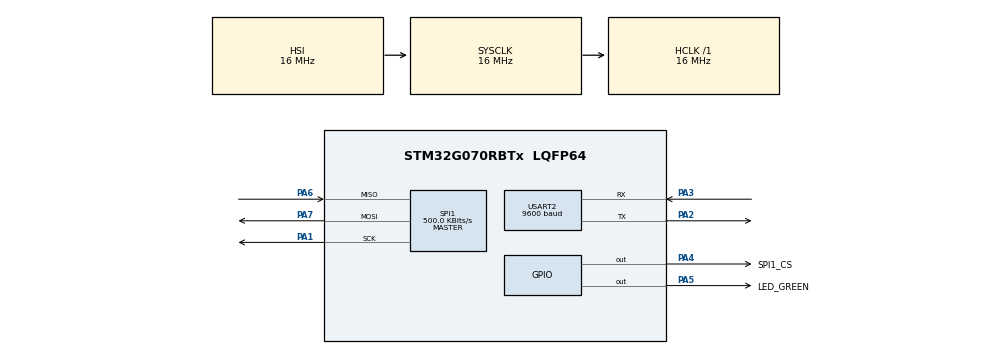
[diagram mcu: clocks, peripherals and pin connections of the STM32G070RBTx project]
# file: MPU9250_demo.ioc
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Mcu.Family=STM32G0
Mcu.Name=STM32G070RBTx
Mcu.Package=LQFP64
PA1.Mode=Full_Duplex_Master
PA1.Signal=SPI1_SCK
PA13.GPIO_Label=TMS
PA13.Mode=Serial_Wire
PA13.Signal=SYS_SWDIO
PA14-BOOT0.GPIO_Label=TCK
PA14-BOOT0.Mode=Serial_Wire
PA14-BOOT0.Signal=SYS_SWCLK
PA2.GPIO_PuPd=GPIO_PULLUP
PA2.Mode=Asynchronous
PA2.Signal=USART2_TX
PA3.GPIO_PuPd=GPIO_PULLUP
PA3.Mode=Asynchronous
PA3.Signal=USART2_RX
PA4.GPIO_Label=SPI1_CS
PA4.Signal=GPIO_Output
PA5.GPIO_Label=LED_GREEN
PA5.Signal=GPIO_Output
PA6.Mode=Full_Duplex_Master
PA6.Signal=SPI1_MISO
PA7.Mode=Full_Duplex_Master
PA7.Signal=SPI1_MOSI
PC13.Mode=SYS_WakeUp1
PC13.Signal=SYS_WKUP2
PC14-OSC32_IN\ (PC14).Mode=LSE-External-Oscillator
PC14-OSC32_IN\ (PC14).Signal=RCC_OSC32_IN
PC15-OSC32_OUT\ (PC15).Mode=LSE-External-Oscillator
PC15-OSC32_OUT\ (PC15).Signal=RCC_OSC32_OUT
PF0-OSC_IN\ (PF0).GPIO_Label=MCO
PF0-OSC_IN\ (PF0).Mode=HSE-External-Clock-Source
PF0-OSC_IN\ (PF0).Signal=RCC_OSC_IN
ProjectManager.HeapSize=0x200
ProjectManager.StackSize=0x400
ProjectManager.TargetToolchain=STM32CubeIDE
RCC.AHBFreq_Value=16000000
RCC.CortexFreq_Value=16000000
RCC.EXTERNAL_CLOCK_VALUE=12288000
RCC.HCLKFreq_Value=16000000
RCC.HSE_VALUE=8000000
RCC.HSI_VALUE=16000000
RCC.SYSCLKFreq_VALUE=16000000
RCC.VCOOutputFreq_Value=128000000
SPI1.BaudRatePrescaler=SPI_BAUDRATEPRESCALER_32
SPI1.CLKPhase=SPI_PHASE_2EDGE
SPI1.CLKPolarity=SPI_POLARITY_HIGH
SPI1.CalculateBaudRate=500.0 KBits/s
SPI1.DataSize=SPI_DATASIZE_8BIT
SPI1.Direction=SPI_DIRECTION_2LINES
SPI1.Mode=SPI_MODE_MASTER
SPI1.VirtualType=VM_MASTER
USART2.BaudRate=9600
USART2.VirtualMode-Asynchronous=VM_ASYNC
USART2.WordLength=WORDLENGTH_8B
board=NUCLEO-G070RB

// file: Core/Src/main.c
/* USER CODE BEGIN Header */
/**
 ******************************************************************************
 * @file           : main.c
 * @brief          : Main program body
 ******************************************************************************
 * @attention
 *
 * Copyright (c) 2026 STMicroelectronics.
 * All rights reserved.
 *
 * This software is licensed under terms that can be found in the LICENSE file
 * in the root directory of this software component.
 * If no LICENSE file comes with this software, it is provided AS-IS.
 *
 ******************************************************************************
 */
/* USER CODE END Header */
#include "main.h"

/* USER CODE BEGIN Includes */
#include "driver_mpu9250_basic.h"

#include <stdio.h>
/* USER CODE END Includes */

/* USER CODE BEGIN PD */
#define DISP_TIME 500
/* USER CODE END PD */

SPI_HandleTypeDef hspi1;

UART_HandleTypeDef huart2;

void SystemClock_Config(void);
static void MX_GPIO_Init(void);
static void MX_USART2_UART_Init(void);
static void MX_SPI1_Init(void);

/* USER CODE BEGIN 0 */
/* USER CODE BEGIN 0 */
int _write(int file, char const *buf, int n)
{
	/* stdout redirection to UART2 */
	HAL_UART_Transmit(&huart2, (uint8_t*)(buf), n, HAL_MAX_DELAY);
	return n;
}
/* USER CODE END 0 */

int main(void)
{

  /* MCU Configuration--------------------------------------------------------*/

  /* Reset of all peripherals, Initializes the Flash interface and the Systick. */
  HAL_Init();

  /* Configure the system clock */
  SystemClock_Config();

  /* Initialize all configured peripherals */
  MX_GPIO_Init();
  MX_USART2_UART_Init();
  MX_SPI1_Init();
  /* USER CODE BEGIN 2 */

	printf("--- Start program NUCLEO-F070RB ---\r\n");
	printf("Run inicialization MPU9250...\r\n");

	/* * 1. INICIALIZATION
	 * For SPI interface set MPU9250_INTERFACE_SPI.
	 * Address only for I2C, library requires it.
	 */
	uint8_t res = mpu9250_basic_init(MPU9250_INTERFACE_SPI, 0); // MPU9250_ADDRESS_AD0_LOW
	if (res != 0)
	{
		printf("Error: MPU9250 inicialization failed!\r\n");
		// Optional Error Handler
	}
	else
	{
		printf("MPU9250 succesfully inicialized and prepered.\r\n");
	}
	printf("%x\n", res);

	/* Pause for stabilization */
	HAL_Delay(100);

	/* Measured data variables */
	float g[3];   // Accelerometes (Multiples of gravitational acceleration)
	float dps[3]; // Gyroscope (Degrees Per Second)
	float ut[3];  // Magnetometer (µT)

	/* Time marker */
	uint32_t tick = 0;

	/* --- Manual activation magnetometer bridge through SPI --- */
	  printf("Activing I2C Master for automatic magnetometer reading...\r\n");

	  uint8_t temp_reg = 0;

	  /* 1. Enable I2C Master mode in register USER_CTRL (0x6A) */
	  mpu9250_interface_spi_read(0x6A, &temp_reg, 1);
	  temp_reg |= 0x20; /* Set bit 5 (I2C_MST_EN) */
	  mpu9250_interface_spi_write(0x6A, &temp_reg, 1);

	  /* 2. Set I2C Slave 0 address for reading from magnetometer */
	  /* Address AK8963 is 0x0C, for reading must be set MSB (0x80) -> 0x8C */
	  temp_reg = 0x8C;
	  mpu9250_interface_spi_write(0x25, &temp_reg, 1); /* Register I2C_SLV0_ADDR */

	  /* 3. Set initial magnetometer register */
	  /* Data X axis, register 0x03 in AK8963 */
	  temp_reg = 0x03;
	  mpu9250_interface_spi_write(0x26, &temp_reg, 1); /* Register I2C_SLV0_REG */

	  /* 4. Enable Slave 0 and set reading length to 7 byte */
	  /* Bit 7 enables reading (0x80), plus 7 bytes (0x07) -> 0x87 */
	  temp_reg = 0x87;
	  mpu9250_interface_spi_write(0x27, &temp_reg, 1); /* Register I2C_SLV0_CTRL */

	  printf("Bridge has been configurated! Start reading data...\r\n");
	  HAL_Delay(100);
	  /* -------------------------------------------------------- */

	  /* --- TVRDÝ RESTART A PROBUZENÍ MAGNETOMETRU --- */
	    printf("Zacinam tvrdou konfiguraci AK8963...\r\n");
	    uint8_t reg_val;

	    /* 1. ZAKÁZAT I2C BYPASS (Registr INT_PIN_CFG - 0x37) */
	    /* Pokud je Bypass zapnutý, interní I2C Master nefunguje! */
	    mpu9250_interface_spi_read(0x37, &reg_val, 1);
	    reg_val &= ~0x02; // Vynulujeme bit 1 (BYPASS_EN)
	    mpu9250_interface_spi_write(0x37, &reg_val, 1);

	    /* 2. POVOLIT I2C MASTERA (Registr USER_CTRL - 0x6A) */
	    mpu9250_interface_spi_read(0x6A, &reg_val, 1);
	    reg_val |= 0x20; // Nastavíme bit 5 (I2C_MST_EN)
	    mpu9250_interface_spi_write(0x6A, &reg_val, 1);

	    /* 3. NASTAVIT RYCHLOST INTERNÍHO I2C (Registr I2C_MST_CTRL - 0x24) */
	    reg_val = 0x0D; // I2C rychlost 400 kHz
	    mpu9250_interface_spi_write(0x24, &reg_val, 1);

	    /* --- ZÁPIS DO AK8963: PROBUĎ SE A MĚŘ! --- */
	    /* K zápisu do magnetometru musíme použít kanál SLV4 */
	    reg_val = 0x0C; // I2C adresa AK8963 (Zápis)
	    mpu9250_interface_spi_write(0x31, &reg_val, 1); // I2C_SLV4_ADDR

	    reg_val = 0x0A; // Registr CNTL1 v AK8963 (Nastavení módu)
	    mpu9250_interface_spi_write(0x32, &reg_val, 1); // I2C_SLV4_REG

	    reg_val = 0x16; // Hodnota: 16-bit rozlišení, Continuous Mode 2 (100 Hz)
	    mpu9250_interface_spi_write(0x33, &reg_val, 1); // I2C_SLV4_DO

	    reg_val = 0x80; // Povolit přenos (EN bit)
	    mpu9250_interface_spi_write(0x34, &reg_val, 1); // I2C_SLV4_CTRL

	    HAL_Delay(50); // Počkáme, až se příkaz pošle a magnetometr se probudí

	    /* --- NASTAVENÍ KONTINUÁLNÍHO ČTENÍ DO EXT_SENS_DATA --- */
	    /* Nastavíme kanál SLV0, aby neustále četl měření */
	    reg_val = 0x8C; // I2C adresa 0x0C + bit čtení (0x80)
	    mpu9250_interface_spi_write(0x25, &reg_val, 1); // I2C_SLV0_ADDR

	    reg_val = 0x03; // Začít číst od registru HXL (osa X)
	    mpu9250_interface_spi_write(0x26, &reg_val, 1); // I2C_SLV0_REG

	    reg_val = 0x87; // Povolit čtení (EN) + délka 7 bajtů (X, Y, Z + ST2)
	    mpu9250_interface_spi_write(0x27, &reg_val, 1); // I2C_SLV0_CTRL

	    printf("Konfigurace dokoncena. Cekam na prvni data...\r\n");
	    HAL_Delay(100);
	    /* -------------------------------------------------------- */

  /* USER CODE END 2 */

  /* Infinite loop */
  /* USER CODE BEGIN WHILE */
	while (1)
	{

		/* * 2 READING
		 */
		if (HAL_GetTick() > tick)
		{
			tick = HAL_GetTick() + DISP_TIME;

			//printf("Reading data from sensor...\r\n");
			if (mpu9250_basic_read(g, dps, ut) != 0)
			{
				printf("Error: Sensor data reading failed!\r\n");
			}
			else
			{
				/* 3. WRITE VALUE TO SERIAL */
				//printf("\r\n");
				//printf("A [g]  : X=%d, Y=%d, Z=%d\r\n", (int16_t)(g[0]*1000), (int16_t)(g[1]*1000), (int16_t)(g[2]*1000));
				//printf("G [dps]: X=%d, Y=%d, Z=%d\r\n", (int16_t)(dps[0]*1000), (int16_t)(dps[1]*1000), (int16_t)(dps[2]*1000));
				//printf("M [uT] : X=%d, Y=%d, Z=%d\r\n", (int16_t)(ut[0]*1000), (int16_t)(ut[1]*1000), (int16_t)(ut[2]*1000));
				//printf("\r\n");
			}

			uint8_t mag_raw_data[7];
			mpu9250_interface_spi_read(0x49, mag_raw_data, 7);

			//printf("Raw Mag Data: %02X %02X %02X %02X %02X %02X | ST2: %02X\r\n",
			//       mag_raw_data[0], mag_raw_data[1], mag_raw_data[2],
			//       mag_raw_data[3], mag_raw_data[4], mag_raw_data[5], mag_raw_data[6]);

			int16_t raw_x = ((int16_t)((mag_raw_data[1] << 8) | mag_raw_data[0]) * 15) / 100;
			int16_t raw_y = ((int16_t)((mag_raw_data[3] << 8) | mag_raw_data[2]) * 15) / 100;
			int16_t raw_z = ((int16_t)((mag_raw_data[5] << 8) | mag_raw_data[4]) * 15) / 100;

			printf("M [uT]: X=%d, Y=%d, Z=%d\r\n", raw_x, raw_y, raw_z);
		}

    /* USER CODE END WHILE */

	}
}

void SystemClock_Config(void)
{
  RCC_OscInitTypeDef RCC_OscInitStruct = {0};
  RCC_ClkInitTypeDef RCC_ClkInitStruct = {0};

  /** Configure the main internal regulator output voltage
  */
  HAL_PWREx_ControlVoltageScaling(PWR_REGULATOR_VOLTAGE_SCALE1);

  /** Initializes the RCC Oscillators according to the specified parameters
  * in the RCC_OscInitTypeDef structure.
  */
  RCC_OscInitStruct.OscillatorType = RCC_OSCILLATORTYPE_HSI;
  RCC_OscInitStruct.HSIState = RCC_HSI_ON;
  RCC_OscInitStruct.HSIDiv = RCC_HSI_DIV1;
  RCC_OscInitStruct.HSICalibrationValue = RCC_HSICALIBRATION_DEFAULT;
  RCC_OscInitStruct.PLL.PLLState = RCC_PLL_NONE;
  if (HAL_RCC_OscConfig(&RCC_OscInitStruct) != HAL_OK)
  {
    Error_Handler();
  }

  /** Initializes the CPU, AHB and APB buses clocks
  */
  RCC_ClkInitStruct.ClockType = RCC_CLOCKTYPE_HCLK|RCC_CLOCKTYPE_SYSCLK
                              |RCC_CLOCKTYPE_PCLK1;
  RCC_ClkInitStruct.SYSCLKSource = RCC_SYSCLKSOURCE_HSI;
  RCC_ClkInitStruct.AHBCLKDivider = RCC_SYSCLK_DIV1;
  RCC_ClkInitStruct.APB1CLKDivider = RCC_HCLK_DIV1;

  if (HAL_RCC_ClockConfig(&RCC_ClkInitStruct, FLASH_LATENCY_0) != HAL_OK)
  {
    Error_Handler();
  }
}

static void MX_SPI1_Init(void)
{

  /* SPI1 parameter configuration*/
  hspi1.Instance = SPI1;
  hspi1.Init.Mode = SPI_MODE_MASTER;
  hspi1.Init.Direction = SPI_DIRECTION_2LINES;
  hspi1.Init.DataSize = SPI_DATASIZE_8BIT;
  hspi1.Init.CLKPolarity = SPI_POLARITY_LOW;
  hspi1.Init.CLKPhase = SPI_PHASE_1EDGE;
  hspi1.Init.NSS = SPI_NSS_SOFT;
  hspi1.Init.BaudRatePrescaler = SPI_BAUDRATEPRESCALER_64;
  hspi1.Init.FirstBit = SPI_FIRSTBIT_MSB;
  hspi1.Init.TIMode = SPI_TIMODE_DISABLE;
  hspi1.Init.CRCCalculation = SPI_CRCCALCULATION_DISABLE;
  hspi1.Init.CRCPolynomial = 7;
  hspi1.Init.CRCLength = SPI_CRC_LENGTH_DATASIZE;
  hspi1.Init.NSSPMode = SPI_NSS_PULSE_ENABLE;
  if (HAL_SPI_Init(&hspi1) != HAL_OK)
  {
    Error_Handler();
  }

}

static void MX_USART2_UART_Init(void)
{

  huart2.Instance = USART2;
  huart2.Init.BaudRate = 9600;
  huart2.Init.WordLength = UART_WORDLENGTH_8B;
  huart2.Init.StopBits = UART_STOPBITS_1;
  huart2.Init.Parity = UART_PARITY_NONE;
  huart2.Init.Mode = UART_MODE_TX_RX;
  huart2.Init.HwFlowCtl = UART_HWCONTROL_NONE;
  huart2.Init.OverSampling = UART_OVERSAMPLING_16;
  huart2.Init.OneBitSampling = UART_ONE_BIT_SAMPLE_DISABLE;
  huart2.Init.ClockPrescaler = UART_PRESCALER_DIV1;
  huart2.AdvancedInit.AdvFeatureInit = UART_ADVFEATURE_NO_INIT;
  if (HAL_UART_Init(&huart2) != HAL_OK)
  {
    Error_Handler();
  }
  if (HAL_UARTEx_SetTxFifoThreshold(&huart2, UART_TXFIFO_THRESHOLD_1_8) != HAL_OK)
  {
    Error_Handler();
  }
  if (HAL_UARTEx_SetRxFifoThreshold(&huart2, UART_RXFIFO_THRESHOLD_1_8) != HAL_OK)
  {
    Error_Handler();
  }
  if (HAL_UARTEx_DisableFifoMode(&huart2) != HAL_OK)
  {
    Error_Handler();
  }

}

static void MX_GPIO_Init(void)
{
  GPIO_InitTypeDef GPIO_InitStruct = {0};

  /* GPIO Ports Clock Enable */
  __HAL_RCC_GPIOC_CLK_ENABLE();
  __HAL_RCC_GPIOF_CLK_ENABLE();
  __HAL_RCC_GPIOA_CLK_ENABLE();

  /*Configure GPIO pin Output Level */
  HAL_GPIO_WritePin(GPIOA, SPI1_CS_Pin|LED_GREEN_Pin, GPIO_PIN_RESET);

  /*Configure GPIO pins : SPI1_CS_Pin LED_GREEN_Pin */
  GPIO_InitStruct.Pin = SPI1_CS_Pin|LED_GREEN_Pin;
  GPIO_InitStruct.Mode = GPIO_MODE_OUTPUT_PP;
  GPIO_InitStruct.Pull = GPIO_NOPULL;
  GPIO_InitStruct.Speed = GPIO_SPEED_FREQ_LOW;
  HAL_GPIO_Init(GPIOA, &GPIO_InitStruct);

}

void Error_Handler(void)
{
	__disable_irq();
	while (1)
	{
	}
}
